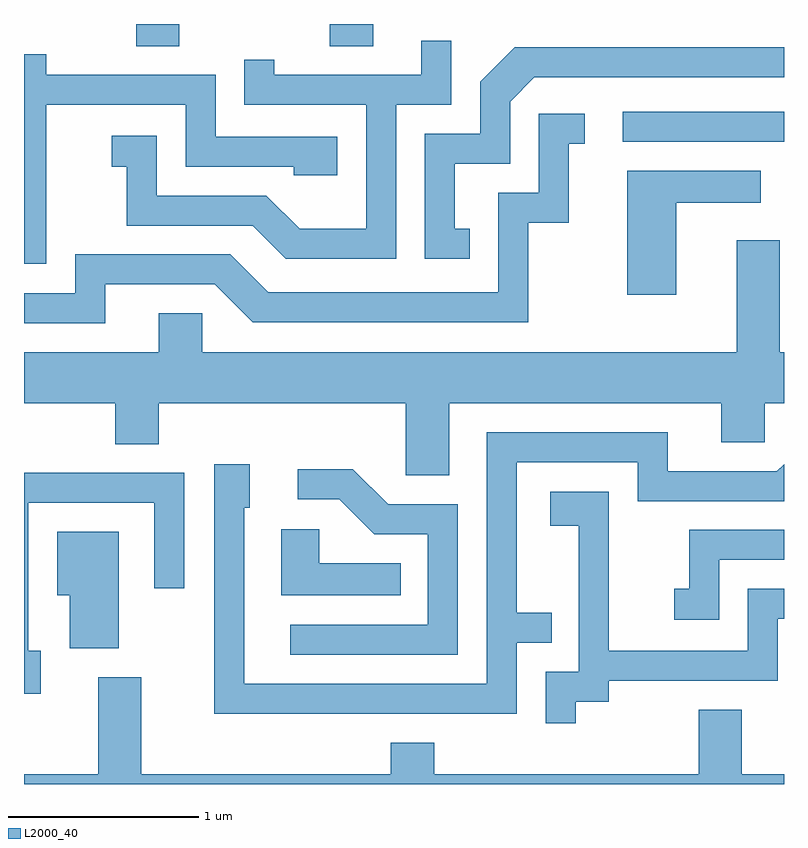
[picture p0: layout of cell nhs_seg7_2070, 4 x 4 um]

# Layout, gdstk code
import gdstk
lib = gdstk.Library(unit=1e-6, precision=1e-09)
def R(c, l, rs):  # rectangles x0, y0, x1, y1
    for r in rs: c.add(gdstk.rectangle(r[:2], r[2:], *l))
def P(c, l, *ps):  # polygons
    for p in ps: c.add(gdstk.Polygon(p, *l))
L2000_40 = (2000, 40)

nhs_seg7_2070 = lib.new_cell('nhs_seg7_2070')
R(nhs_seg7_2070, L2000_40, [(250.763,1775.631,251.611,1775.789), (248.201,1776.136,248.429,1776.252), (249.221,1776.136,249.449,1776.252)])
P(nhs_seg7_2070, L2000_40, [(249.569,1775.826),(249.859,1775.826),(249.859,1776.163),(249.701,1776.163),(249.701,1775.984),(248.929,1775.984),(248.929,1776.063),(248.771,1776.063),(248.771,1775.826),(249.411,1775.826),(249.411,1775.174),(249.062,1775.174),(248.887,1775.349),(248.309,1775.349),(248.309,1775.664),(248.073,1775.664),(248.073,1775.501),(248.151,1775.501),(248.151,1775.191),(248.814,1775.191),(248.989,1775.016),(249.569,1775.016)],
  [(249.958,1775.174),(249.879,1775.174),(249.879,1775.516),(250.169,1775.516),(250.169,1775.844),(250.297,1775.971),(251.611,1775.971),(251.611,1776.129),(250.194,1776.129),(250.011,1775.947),(250.011,1775.674),(249.721,1775.674),(249.721,1775.016),(249.958,1775.016)],
  [(247.729,1775.826),(248.461,1775.826),(248.461,1775.501),(249.031,1775.501),(249.031,1775.456),(249.259,1775.456),(249.259,1775.659),(248.619,1775.659),(248.619,1775.984),(247.729,1775.984),(247.729,1776.094),(247.611,1776.094),(247.611,1774.991),(247.729,1774.991)],
  [(248.039,1774.881),(248.614,1774.881),(248.814,1774.681),(250.264,1774.681),(250.264,1775.206),(250.479,1775.206),(250.479,1775.621),(250.563,1775.621),(250.563,1775.779),(250.321,1775.779),(250.321,1775.364),(250.106,1775.364),(250.106,1774.839),(248.897,1774.839),(248.697,1775.039),(247.881,1775.039),(247.881,1774.834),(247.611,1774.834),(247.611,1774.676),(248.039,1774.676)],
  [(251.044,1775.311),(251.488,1775.311),(251.488,1775.479),(250.786,1775.479),(250.786,1774.826),(251.044,1774.826)],
  [(249.849,1774.256),(251.281,1774.256),(251.281,1774.051),(251.509,1774.051),(251.509,1774.256),(251.611,1774.256),(251.611,1774.524),(251.589,1774.524),(251.589,1775.114),(251.361,1775.114),(251.361,1774.524),(248.549,1774.524),(248.549,1774.729),(248.321,1774.729),(248.321,1774.524),(247.611,1774.524),(247.611,1774.256),(248.091,1774.256),(248.091,1774.041),(248.319,1774.041),(248.319,1774.256),(249.621,1774.256),(249.621,1773.876),(249.849,1773.876)],
  [(250.204,1772.996),(250.388,1772.996),(250.388,1773.154),(250.204,1773.154),(250.204,1773.946),(250.841,1773.946),(250.841,1773.741),(251.611,1773.741),(251.611,1773.936),(251.574,1773.899),(250.999,1773.899),(250.999,1774.104),(250.046,1774.104),(250.046,1772.779),(248.769,1772.779),(248.769,1773.706),(248.799,1773.706),(248.799,1773.934),(248.611,1773.934),(248.611,1772.621),(250.204,1772.621)],
  [(249.894,1773.724),(249.527,1773.724),(249.342,1773.909),(249.053,1773.909),(249.053,1773.751),(249.269,1773.751),(249.454,1773.566),(249.736,1773.566),(249.736,1773.089),(249.013,1773.089),(249.013,1772.931),(249.894,1772.931)],
  [(247.699,1772.954),(247.634,1772.954),(247.634,1773.731),(248.296,1773.731),(248.296,1773.283),(248.454,1773.283),(248.454,1773.889),(247.611,1773.889),(247.611,1772.726),(247.699,1772.726)],
  [(250.514,1772.686),(250.689,1772.686),(250.689,1772.796),(251.579,1772.796),(251.579,1773.121),(251.611,1773.121),(251.611,1773.279),(251.421,1773.279),(251.421,1772.954),(250.689,1772.954),(250.689,1773.789),(250.381,1773.789),(250.381,1773.611),(250.531,1773.611),(250.531,1772.844),(250.356,1772.844),(250.356,1772.573),(250.514,1772.573)],
  [(249.593,1773.414),(249.164,1773.414),(249.164,1773.594),(248.966,1773.594),(248.966,1773.246),(249.593,1773.246)],
  [(251.269,1773.431),(251.611,1773.431),(251.611,1773.589),(251.111,1773.589),(251.111,1773.279),(251.033,1773.279),(251.033,1773.116),(251.269,1773.116)],
  [(248.109,1773.579),(247.786,1773.579),(247.786,1773.246),(247.851,1773.246),(247.851,1772.966),(248.109,1772.966)],
  [(251.611,1772.304),(251.389,1772.304),(251.389,1772.644),(251.161,1772.644),(251.161,1772.304),(249.769,1772.304),(249.769,1772.469),(249.541,1772.469),(249.541,1772.304),(248.229,1772.304),(248.229,1772.814),(248.001,1772.814),(248.001,1772.304),(247.611,1772.304),(247.611,1772.252),(251.611,1772.252)])

lib.write_gds('nhs_seg7_2070.gds')
